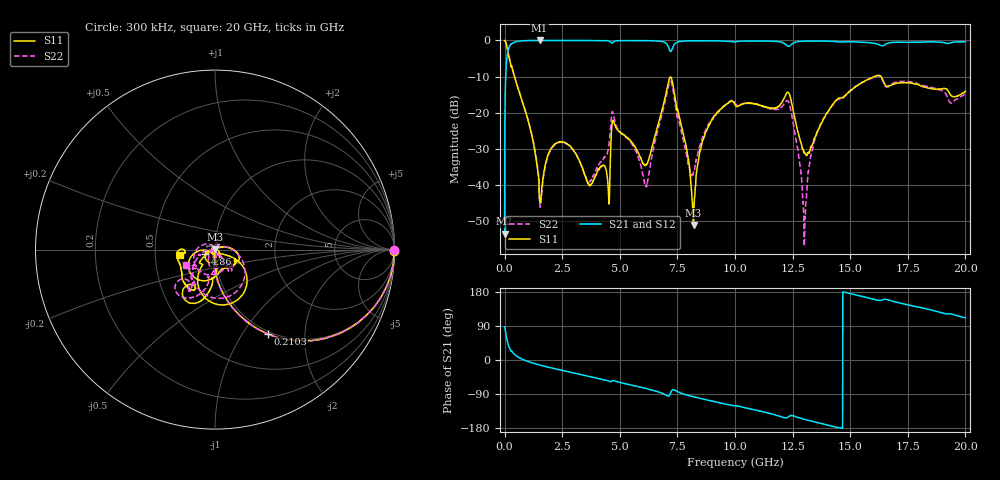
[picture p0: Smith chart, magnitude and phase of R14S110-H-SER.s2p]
!{R14S110}
!Johanson Technology Inc.
!www.johansontechnology.com
!Test Board Conditions:
!Substrate Type  RO4350B
!Substrate Thickness  20 mil
!Substrate Dk  3.66
!TL Type: GCPW
!TL Trace Width  36 mil
!TL Gap  12 mil
!Electrode orientation  Horizontal
!DUT TOPOLOGY	SERIES
!Mounting Pad LxW  26x36 mil
! Created Wed Nov 25 17:33:21 2020
! 2 Port Network Data from SP1.SP block
! freq  magS11  angS11  magS21  angS21  magS12  angS12  magS22  angS22
# khz S ma R 50
! decimated to every 10th point (10 MHz spacing) of the original 1 MHz Johanson file; values unchanged
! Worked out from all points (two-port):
!   2001 points, 300 kHz to 20 GHz, reference 50 ohm
!   highest |S21| = 0.00 dB at 1.52 GHz (marker M1); lowest = -53.4 dB at 300 kHz (marker M2)
!   |S21| within 3 dB of the highest: 143.2 MHz to 7.196 GHz (7.053 GHz wide, 192 % of centre); 7.223 GHz to end of sweep
!   lowest |S11| = -51.0 dB at 8.2 GHz (marker M3), VSWR 1.01, Z = 50.1 + j0.254 ohm
!   |S11| at or under -10 dB: 428.6 MHz to 16.04 GHz (15.61 GHz wide, 190 % of centre); 16.34 GHz to end of sweep
!   |S22| runs from -56.8 to 0.0 dB; largest |S21 - S12| = 0.019
!   S11 on the Smith chart (normalised r, x): 300 kHz: open; 210.3 MHz: 0.96, -1.30; 4.86 GHz: 0.89, -0.05; 20 GHz: 0.67, -0.04
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300  0.9967 -0.3  0.002142 87.9  0.002116 90.0  0.9975 -0.3
110300  0.7889 -38.8  0.6113 51.1  0.6123 51.0  0.7894 -38.7
210300  0.5533 -58.0  0.8291 31.8  0.8302 31.7  0.5546 -58.0
1180300  0.04914 -92.1  0.9967 -7.2  0.9984 -7.3  0.05062 -101.2
1520300  0.006524 -36.6  0.9997 -13.1  0.9982 -13.1  0.005753 -158.3
2250300  0.03808 54.4  0.9974 -24.1  0.9983 -24.0  0.03731 75.6
3340300  0.01866 59.8  0.9982 -38.8  0.9972 -38.7  0.01819 37.2
4480300  0.01086 140.1  0.9884 -54.9  0.9878 -54.9  0.02931 -62.2
4700300  0.07886 -114.4  0.9393 -54.1  0.9403 -54.1  0.1012 -100.1
4860300  0.06073 -154.6  0.9871 -56.9  0.9874 -56.9  0.06458 -124.9
6130300  0.01914 -92.7  0.9929 -75.1  0.9919 -75.1  0.009512 123.1
6670300  0.07013 -25.9  0.9823 -84.0  0.9818 -84.0  0.06052 15.3
7240300  0.3008 -90.7  0.72 -82.2  0.7197 -82.2  0.2612 -99.0
8200300  0.002832 63.3  0.9906 -97.2  0.9887 -97.1  0.01536 -91.3
8790300  0.05868 14.4  0.99 -105.6  0.9897 -105.6  0.06326 -51.4
1.00003e7  0.1294 -30.6  0.9526 -120.5  0.9518 -120.6  0.1378 -57.7
1.23103e7  0.1917 -129.6  0.8274 -150.5  0.8306 -150.5  0.1438 -134.4
1.30203e7  0.02747 -147.2  0.9794 -156.7  0.9786 -156.8  0.001945 -4.2
1.33403e7  0.03558 -96.6  0.9824 -161.8  0.9824 -161.7  0.03 -81.8
1.44203e7  0.1521 -91.1  0.9591 -177.6  0.9614 -177.8  0.1495 -100.3
1.66703e7  0.2308 -118.9  0.923 158.3  0.9172 158.0  0.2357 -124.2
2e7  0.1983 -171.5  0.9591 111.0  0.9571 111.2  0.1825 -151.3
